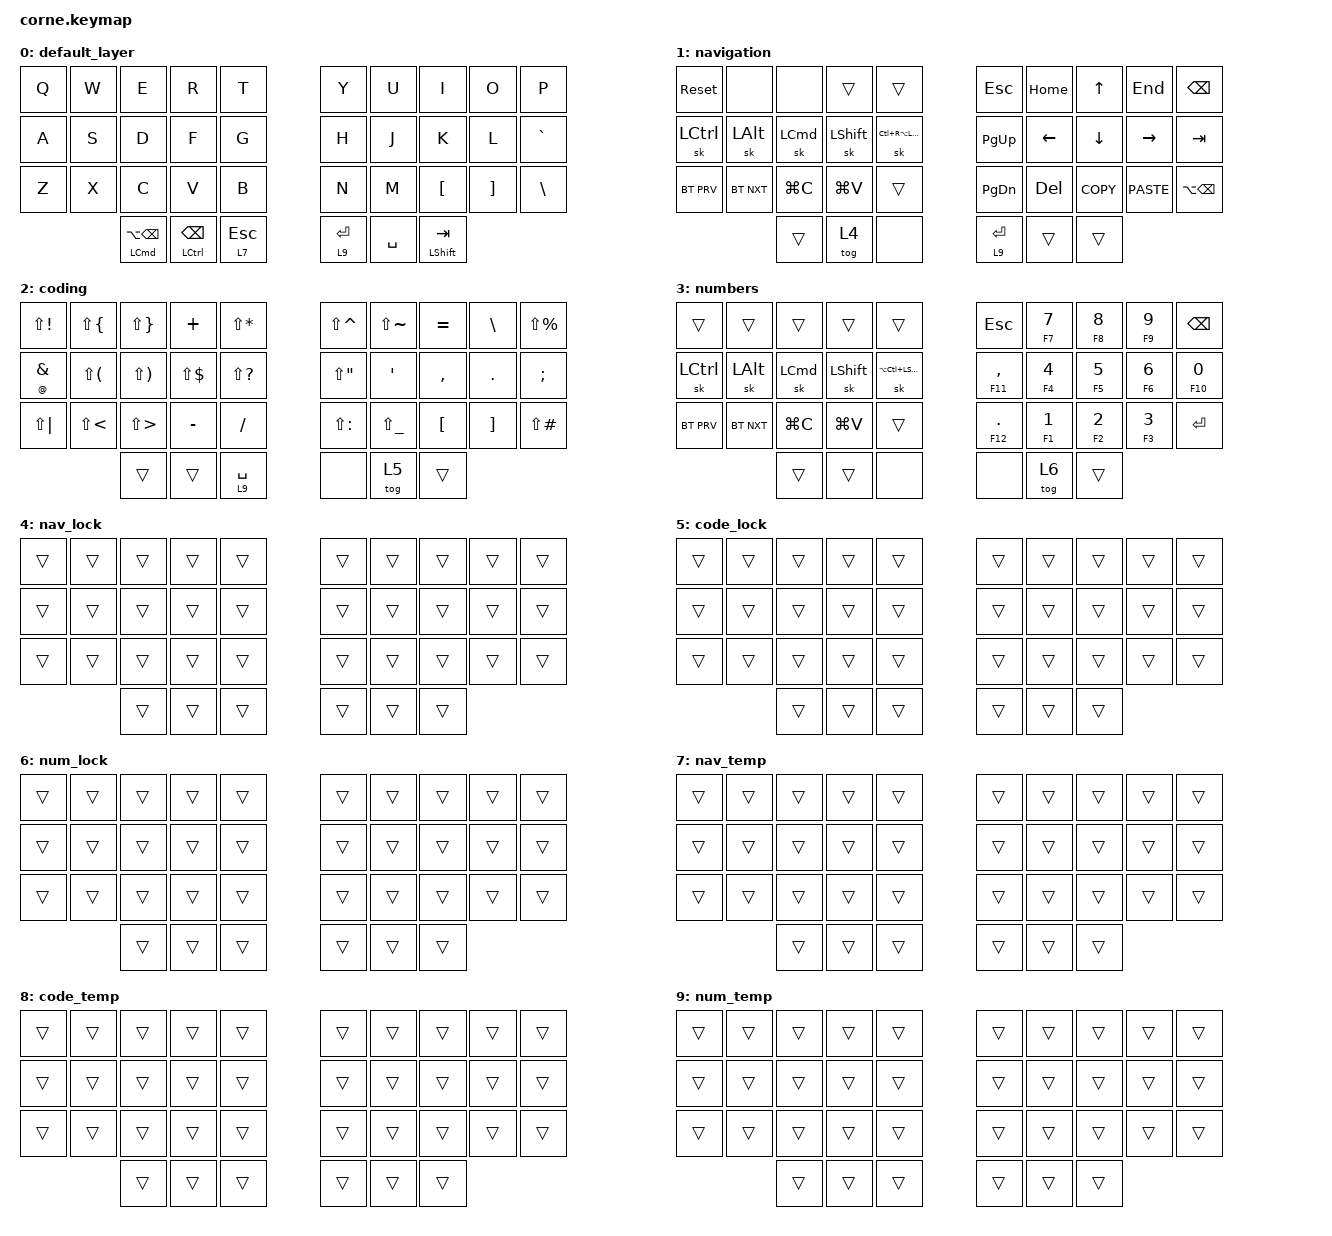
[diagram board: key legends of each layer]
/*
 * Copyright (c) 2020 The ZMK Contributors
 *
 * SPDX-License-Identifier: MIT
 */

#include <behaviors.dtsi>
#include <dt-bindings/zmk/bt.h>
#include <dt-bindings/zmk/keys.h>

/ {
    chosen { zmk,matrix_transform = &five_column_transform; };

    combos {
        compatible = "zmk,combos";

        comma {
            bindings = <&kp COMMA>;
            key-positions = <13 12>;
        };

        dot {
            bindings = <&kp PERIOD>;
            key-positions = <22 23>;
        };

        tab {
            bindings = <&kp TAB>;
            key-positions = <11 13>;
        };

        at {
            bindings = <&kp AT_SIGN>;
            key-positions = <16 18>;
        };

        slash {
            bindings = <&kp SLASH>;
            key-positions = <27 28>;
        };

        quote {
            bindings = <&kp SQT>;
            key-positions = <12 23>;
        };

        excl {
            bindings = <&kp EXCLAMATION>;
            key-positions = <16 17 18>;
        };

        semi {
            bindings = <&kp SEMICOLON>;
            key-positions = <19 18>;
        };

        colon {
            bindings = <&kp COLON>;
            key-positions = <7 8>;
        };

        amp {
            bindings = <&kp AMPERSAND>;
            key-positions = <6 7 8>;
        };

        par1 {
            bindings = <&kp LEFT_PARENTHESIS>;
            key-positions = <22 21>;
        };

        par2 {
            bindings = <&kp RIGHT_PARENTHESIS>;
            key-positions = <21 22 23>;
        };

        dash {
            bindings = <&kp MINUS>;
            key-positions = <17 18>;
        };

        eq {
            bindings = <&kp EQUAL>;
            key-positions = <17 26>;
        };

        dv {
            bindings = <&kp PERCENT>;
            key-positions = <6 7>;
        };

        hash {
            bindings = <&kp HASH>;
            key-positions = <0 1>;
        };

        dollar {
            bindings = <&kp DOLLAR>;
            key-positions = <2 13>;
        };

        ast {
            bindings = <&kp ASTERISK>;
            key-positions = <26 27>;
        };

        caret {
            bindings = <&kp CARET>;
            key-positions = <16 7>;
        };

        screen {
            bindings = <&kp LG(LS(NUMBER_4))>;
            key-positions = <21 20>;
        };

        Questiom {
            bindings = <&kp QUESTION>;
            key-positions = <28 29>;
        };

        Pipe {
            bindings = <&kp PIPE>;
            key-positions = <26 27 28>;
        };

        Lbr {
            bindings = <&kp LEFT_BRACE>;
            key-positions = <11 12>;
        };

        Rbr {
            bindings = <&kp RIGHT_BRACE>;
            key-positions = <11 12 13>;
        };

        Lth {
            bindings = <&kp LESS_THAN>;
            key-positions = <1 2>;
        };

        Gth {
            bindings = <&kp GREATER_THAN>;
            key-positions = <1 2 3>;
        };

        Dqu {
            bindings = <&kp DOUBLE_QUOTES>;
            key-positions = <2 3>;
        };

        Und {
            bindings = <&kp UNDER>;
            key-positions = <9 8>;
        };

        Pllus {
            bindings = <&kp PLUS>;
            key-positions = <17 16>;
        };

        Changeinp {
            bindings = <&kp GLOBE>;
            key-positions = <13 16>;
        };
    };

    keymap {
        compatible = "zmk,keymap";

        default_layer {
            // -----------------------------------------------------------------------------------------
            // |  TAB |  Q  |  W  |  E  |  R  |  T  |   |  Y  |  U   |  I  |  O  |  P  | BSPC |
            // | CTRL |  A  |  S  |  D  |  F  |  G  |   |  H  |  J   |  K  |  L  |  ;  |  '   |
            // | SHFT |  Z  |  X  |  C  |  V  |  B  |   |  N  |  M   |  ,  |  .  |  /  | ESC  |
            //                    | GUI | LWR | SPC |   | ENT | RSE  | ALT |

            bindings = <
  &kp Q  &kp W  &kp E                           &kp R                &kp T           &kp Y        &kp U      &kp I               &kp O              &kp P
  &kp A  &kp S  &kp D                           &kp F                &kp G           &kp H        &kp J      &kp K               &kp L              &kp GRAVE
  &kp Z  &kp X  &kp C                           &kp V                &kp B           &kp N        &kp M      &kp LEFT_BRACKET    &kp RIGHT_BRACKET  &kp BACKSLASH
                &mt LEFT_COMMAND LA(BACKSPACE)  &mt LCTRL BACKSPACE  &lt 7 ESCAPE    &lt 9 ENTER  &kp SPACE  &mt LEFT_SHIFT TAB
            >;
        };

        navigation {
            // -----------------------------------------------------------------------------------------
            // |  TAB |  1  |  2  |  3  |  4  |  5  |   |  6  |  7  |  8  |  9  |  0  | BSPC |
            // | BTCLR| BT1 | BT2 | BT3 | BT4 | BT5 |   | LFT | DWN |  UP | RGT |     |      |
            // | SHFT |     |     |     |     |     |   |     |     |     |     |     |      |
            //                    | GUI |     | SPC |   | ENT |     | ALT |

            bindings = <
  &sys_reset  &none         &none             &trans          &trans                    &kp ESCAPE     &kp HOME  &kp UP_ARROW  &kp END      &kp BACKSPACE
  &sk LCTRL   &sk LEFT_ALT  &sk LEFT_COMMAND  &sk LEFT_SHIFT  &sk LC(RA(LEFT_SHIFT))    &kp PAGE_UP    &kp LEFT  &kp DOWN      &kp RIGHT    &kp TAB
  &bt BT_PRV  &bt BT_NXT    &kp LG(C)         &kp LG(V)       &trans                    &kp PAGE_DOWN  &kp DEL   &kp K_COPY    &kp K_PASTE  &kp LA(BACKSPACE)
                            &trans            &tog 4          &none                     &lt 9 ENTER    &trans    &trans
            >;
        };

        coding {
            // -----------------------------------------------------------------------------------------
            // |  TAB |  !  |  @  |  #  |  $  |  %  |   |  ^  |  &  |  *  |  (  |  )  | BSPC |
            // | CTRL |     |     |     |     |     |   |  -  |  =  |  [  |  ]  |  \  |  `   |
            // | SHFT |     |     |     |     |     |   |  _  |  +  |  {  |  }  | "|" |  ~   |
            //                    | GUI |     | SPC |   | ENT |     | ALT |

            bindings = <
  &kp LS(EXCL)           &kp LS(LEFT_BRACE)        &kp LS(RIGHT_BRACE)        &kp PLUS        &kp LS(STAR)     &kp LS(CARET)  &kp LS(TILDE)  &kp EQUAL  &kp BSLH  &kp LS(PRCNT)
  &mt AT_SIGN AMPERSAND  &kp LS(LEFT_PARENTHESIS)  &kp LS(RIGHT_PARENTHESIS)  &kp LS(DOLLAR)  &kp LS(QMARK)    &kp LS(DQT)    &kp SQT        &kp COMMA  &kp DOT   &kp SEMI
  &kp LS(PIPE)           &kp LS(LESS_THAN)         &kp LS(GREATER_THAN)       &kp MINUS       &kp FSLH         &kp LS(COLON)  &kp LS(UNDER)  &kp LBKT   &kp RBKT  &kp LS(POUND)
                                                   &trans                     &trans          &lt 9 SPACE      &none          &tog 5         &trans
            >;
        };

        numbers {
            bindings = <
  &trans      &trans        &trans            &trans          &trans                    &kp ESCAPE      &mt F7 N7        &mt F8 N8        &mt F9 N9        &kp BACKSPACE
  &sk LCTRL   &sk LEFT_ALT  &sk LEFT_COMMAND  &sk LEFT_SHIFT  &sk LA(LC(LEFT_SHIFT))    &mt F11 COMMA   &mt F4 NUMBER_4  &mt F5 N5        &mt F6 NUMBER_6  &mt F10 N0
  &bt BT_PRV  &bt BT_NXT    &kp LG(C)         &kp LG(V)       &trans                    &mt F12 PERIOD  &mt F1 NUMBER_1  &mt F2 NUMBER_2  &mt F3 NUMBER_3  &kp ENTER
                            &trans            &trans          &none                     &none           &tog 6           &trans
            >;
        };

        nav_lock {
            bindings = <
  &trans  &trans  &trans  &trans  &trans    &trans  &trans  &trans  &trans  &trans
  &trans  &trans  &trans  &trans  &trans    &trans  &trans  &trans  &trans  &trans
  &trans  &trans  &trans  &trans  &trans    &trans  &trans  &trans  &trans  &trans
                  &trans  &trans  &trans    &trans  &trans  &trans
            >;
        };

        code_lock {
            bindings = <
  &trans  &trans  &trans  &trans  &trans    &trans  &trans  &trans  &trans  &trans
  &trans  &trans  &trans  &trans  &trans    &trans  &trans  &trans  &trans  &trans
  &trans  &trans  &trans  &trans  &trans    &trans  &trans  &trans  &trans  &trans
                  &trans  &trans  &trans    &trans  &trans  &trans
            >;
        };

        num_lock {
            bindings = <
  &trans  &trans  &trans  &trans  &trans    &trans  &trans  &trans  &trans  &trans
  &trans  &trans  &trans  &trans  &trans    &trans  &trans  &trans  &trans  &trans
  &trans  &trans  &trans  &trans  &trans    &trans  &trans  &trans  &trans  &trans
                  &trans  &trans  &trans    &trans  &trans  &trans
            >;
        };

        nav_temp {
            bindings = <
  &trans  &trans  &trans  &trans  &trans    &trans  &trans  &trans  &trans  &trans
  &trans  &trans  &trans  &trans  &trans    &trans  &trans  &trans  &trans  &trans
  &trans  &trans  &trans  &trans  &trans    &trans  &trans  &trans  &trans  &trans
                  &trans  &trans  &trans    &trans  &trans  &trans
            >;
        };

        code_temp {
            bindings = <
  &trans  &trans  &trans  &trans  &trans    &trans  &trans  &trans  &trans  &trans
  &trans  &trans  &trans  &trans  &trans    &trans  &trans  &trans  &trans  &trans
  &trans  &trans  &trans  &trans  &trans    &trans  &trans  &trans  &trans  &trans
                  &trans  &trans  &trans    &trans  &trans  &trans
            >;
        };

        num_temp {
            bindings = <
  &trans  &trans  &trans  &trans  &trans    &trans  &trans  &trans  &trans  &trans
  &trans  &trans  &trans  &trans  &trans    &trans  &trans  &trans  &trans  &trans
  &trans  &trans  &trans  &trans  &trans    &trans  &trans  &trans  &trans  &trans
                  &trans  &trans  &trans    &trans  &trans  &trans
            >;
        };
    };

    conditional_layers {
        compatible = "zmk,conditional-layers";

        nav_lock {
            if-layers = <4>;
            then-layer = <1>;
        };

        code_lock {
            if-layers = <5>;
            then-layer = <2>;
        };

        num_lock {
            if-layers = <6>;
            then-layer = <3>;
        };

        nav_temp {
            if-layers = <7>;
            then-layer = <1>;
        };

        code_temp {
            if-layers = <8>;
            then-layer = <2>;
        };

        num_temp {
            if-layers = <9>;
            then-layer = <3>;
        };
    };
};
